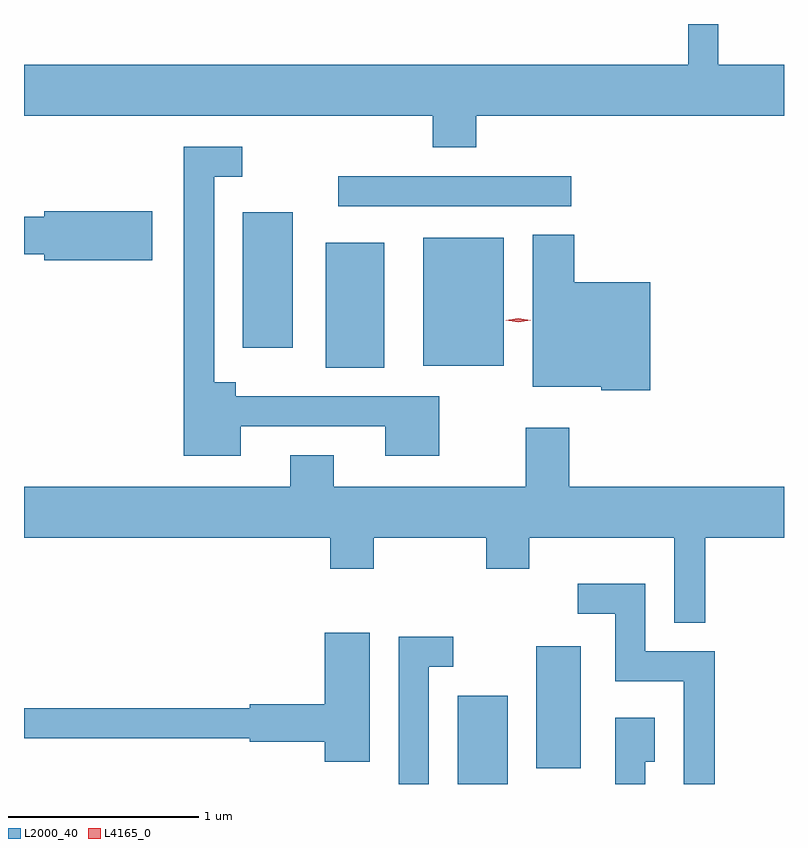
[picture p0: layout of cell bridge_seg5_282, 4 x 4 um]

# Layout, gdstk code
import gdstk
lib = gdstk.Library(unit=1e-6, precision=1e-09)
def R(c, l, rs):  # rectangles x0, y0, x1, y1
    for r in rs: c.add(gdstk.rectangle(r[:2], r[2:], *l))
def P(c, l, *ps):  # polygons
    for p in ps: c.add(gdstk.Polygon(p, *l))
L2000_40 = (2000, 40)
L4165_0 = (4165, 0)

bridge_seg5_282 = lib.new_cell('bridge_seg5_282')
R(bridge_seg5_282, L2000_40, [(702.541,1459.939,702.804,1460.404), (702.956,1460.021,703.189,1460.664), (701.846,1462.131,702.154,1462.789), (702.361,1462.141,702.784,1462.814), (701.411,1462.236,701.674,1462.949), (701.913,1462.981,703.138,1463.139)])
P(bridge_seg5_282, L2000_40, [(702.639,1463.456),(704.259,1463.456),(704.259,1463.724),(703.914,1463.724),(703.914,1463.939),(703.756,1463.939),(703.756,1463.724),(700.259,1463.724),(700.259,1463.456),(702.411,1463.456),(702.411,1463.291),(702.639,1463.291)],
  [(701.399,1461.821),(702.161,1461.821),(702.161,1461.666),(702.444,1461.666),(702.444,1461.979),(701.374,1461.979),(701.374,1462.054),(701.259,1462.054),(701.259,1463.136),(701.408,1463.136),(701.408,1463.294),(701.101,1463.294),(701.101,1461.666),(701.399,1461.666)],
  [(700.934,1462.954),(700.366,1462.954),(700.366,1462.924),(700.259,1462.924),(700.259,1462.726),(700.366,1462.726),(700.366,1462.696),(700.934,1462.696)],
  [(703.554,1462.579),(703.154,1462.579),(703.154,1462.829),(702.936,1462.829),(702.936,1462.031),(703.296,1462.031),(703.296,1462.011),(703.554,1462.011)],
  [(703.844,1461.236),(704.259,1461.236),(704.259,1461.504),(703.129,1461.504),(703.129,1461.814),(702.901,1461.814),(702.901,1461.504),(701.889,1461.504),(701.889,1461.669),(701.661,1461.669),(701.661,1461.504),(700.259,1461.504),(700.259,1461.236),(701.871,1461.236),(701.871,1461.071),(702.099,1461.071),(702.099,1461.236),(702.691,1461.236),(702.691,1461.071),(702.919,1461.071),(702.919,1461.236),(703.681,1461.236),(703.681,1460.788),(703.844,1460.788)],
  [(703.894,1460.639),(703.529,1460.639),(703.529,1460.994),(703.173,1460.994),(703.173,1460.836),(703.371,1460.836),(703.371,1460.481),(703.731,1460.481),(703.731,1459.939),(703.894,1459.939)],
  [(702.079,1460.734),(701.841,1460.734),(701.841,1460.359),(701.446,1460.359),(701.446,1460.339),(700.259,1460.339),(700.259,1460.181),(701.446,1460.181),(701.446,1460.161),(701.841,1460.161),(701.841,1460.056),(702.079,1460.056)],
  [(702.389,1460.556),(702.518,1460.556),(702.518,1460.714),(702.231,1460.714),(702.231,1459.939),(702.389,1459.939)],
  [(703.529,1460.056),(703.579,1460.056),(703.579,1460.289),(703.371,1460.289),(703.371,1459.939),(703.529,1459.939)])
P(bridge_seg5_282, L4165_0, [(702.86,1462.37),(702.794,1462.38),(702.793,1462.381),(702.794,1462.381),(702.86,1462.39),(702.926,1462.38),(702.926,1462.379),(702.926,1462.379)])

lib.write_gds('bridge_seg5_282.gds')
